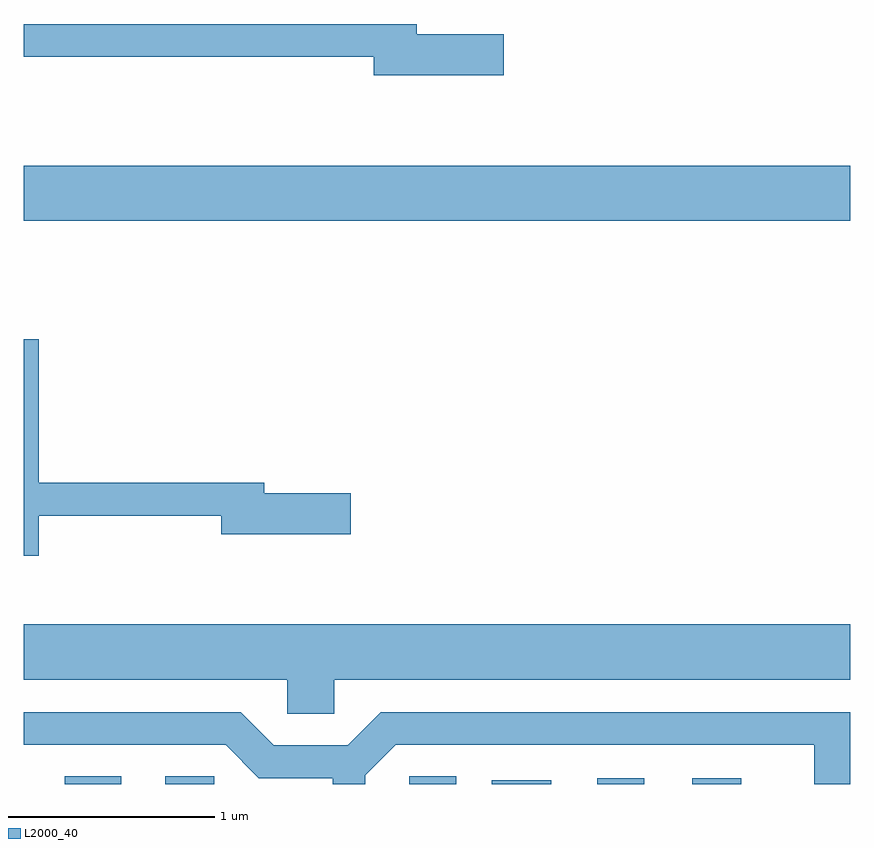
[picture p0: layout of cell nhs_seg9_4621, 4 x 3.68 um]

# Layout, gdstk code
import gdstk
lib = gdstk.Library(unit=1e-6, precision=1e-09)
def R(c, l, rs):  # rectangles x0, y0, x1, y1
    for r in rs: c.add(gdstk.rectangle(r[:2], r[2:], *l))
def P(c, l, *ps):  # polygons
    for p in ps: c.add(gdstk.Polygon(p, *l))
L2000_40 = (2000, 40)

nhs_seg9_4621 = lib.new_cell('nhs_seg9_4621')
R(nhs_seg9_4621, L2000_40, [(321.811,1982.432,322.083,1982.469), (322.296,1982.432,322.533,1982.469), (323.476,1982.432,323.704,1982.469), (323.876,1982.432,324.163,1982.449), (324.386,1982.432,324.614,1982.459), (324.846,1982.432,325.083,1982.459), (321.611,1985.156,325.611,1985.424)])
P(nhs_seg9_4621, L2000_40, [(323.934,1986.059),(323.514,1986.059),(323.514,1986.109),(321.611,1986.109),(321.611,1985.951),(323.306,1985.951),(323.306,1985.861),(323.934,1985.861)],
  [(321.684,1983.731),(322.566,1983.731),(322.566,1983.641),(323.194,1983.641),(323.194,1983.839),(322.774,1983.839),(322.774,1983.889),(321.684,1983.889),(321.684,1984.584),(321.611,1984.584),(321.611,1983.536),(321.684,1983.536)],
  [(323.114,1982.936),(325.611,1982.936),(325.611,1983.204),(321.611,1983.204),(321.611,1982.936),(322.886,1982.936),(322.886,1982.771),(323.114,1982.771)],
  [(323.264,1982.474),(323.412,1982.621),(325.436,1982.621),(325.436,1982.432),(325.611,1982.432),(325.611,1982.779),(323.339,1982.779),(323.179,1982.619),(322.822,1982.619),(322.662,1982.779),(321.611,1982.779),(321.611,1982.621),(322.589,1982.621),(322.749,1982.461),(323.106,1982.461),(323.106,1982.432),(323.264,1982.432)])

lib.write_gds('nhs_seg9_4621.gds')
